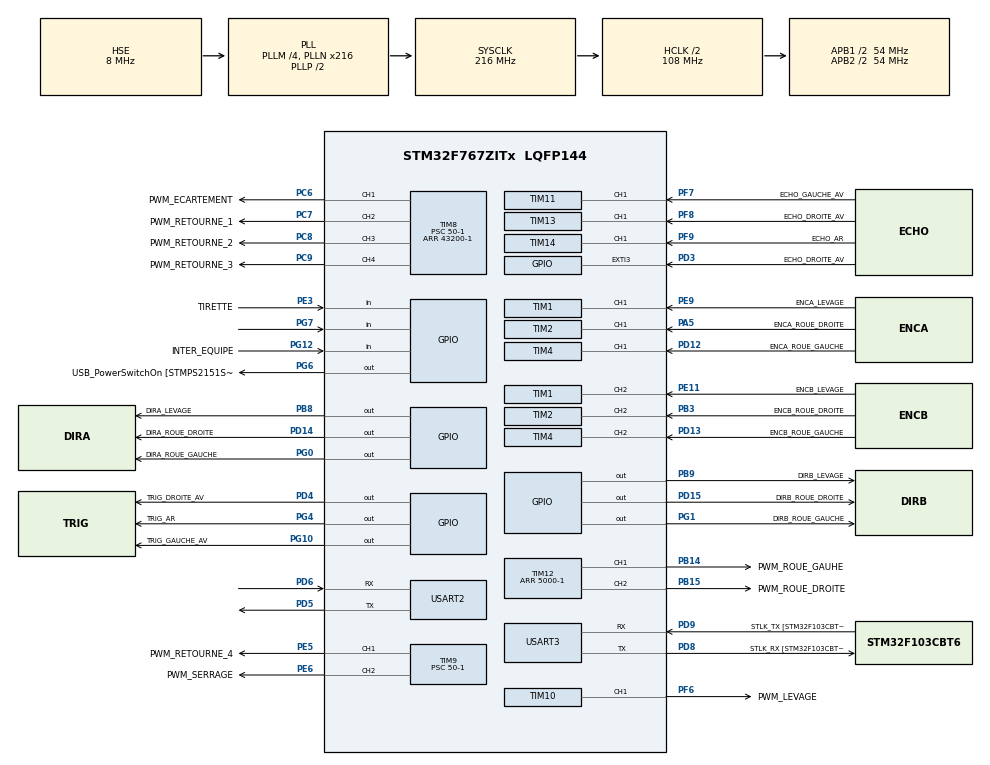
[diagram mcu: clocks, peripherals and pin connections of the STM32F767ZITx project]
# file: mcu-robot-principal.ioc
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CORTEX_M7.default_mode_Activation=1
Dma.Request0=USART2_RX
Dma.USART2_RX.0.Direction=DMA_PERIPH_TO_MEMORY
Dma.USART2_RX.0.FIFOMode=DMA_FIFOMODE_DISABLE
Dma.USART2_RX.0.Instance=DMA1_Stream5
Dma.USART2_RX.0.MemDataAlignment=DMA_MDATAALIGN_BYTE
Dma.USART2_RX.0.MemInc=DMA_MINC_ENABLE
Dma.USART2_RX.0.Mode=DMA_CIRCULAR
Dma.USART2_RX.0.PeriphDataAlignment=DMA_PDATAALIGN_BYTE
Dma.USART2_RX.0.PeriphInc=DMA_PINC_DISABLE
Dma.USART2_RX.0.Priority=DMA_PRIORITY_LOW
FREERTOS.Tasks01=defaultTask,24,256,StartDefaultTask,Default,NULL,Dynamic,NULL,NULL;odometry,48,1024,StartOdometryTask,As external,&odometry_task_params,Dynamic,NULL,NULL;cmdRobotVel,48,2048,StartCmdRobotVelTask,As external,&cmd_robot_vel_task_params,Dynamic,NULL,NULL;cmdRobotPose,32,1024,StartCmdRobotPoseTask,As external,&cmd_robot_pose_task_params,Dynamic,NULL,NULL;lift,8,512,StartLiftTask,As external,&lift_task_params,Dynamic,NULL,NULL;spread,8,512,StartSpreadTask,As external,&spread_task_params,Dynamic,NULL,NULL;flip,8,512,StartFlipTask,As external,&flip_task_params,Dynamic,NULL,NULL;grip,8,512,StartGripTask,As external,&grip_task_params,Dynamic,NULL,NULL;strategy,8,1024,StartStrategyTask,As external,&strategy_task_params,Dynamic,NULL,NULL;detection,48,1024,StartDetectionTask,As external,&detection_task_params,Dynamic,NULL,NULL
FREERTOS.configENABLE_FPU=1
FREERTOS.configTOTAL_HEAP_SIZE=200000
Mcu.Family=STM32F7
Mcu.Name=STM32F767ZITx
Mcu.Package=LQFP144
NVIC.DMA1_Stream5_IRQn=true\:5\:0\:false\:false\:true\:true\:false\:true\:true
NVIC.EXTI3_IRQn=true\:5\:0\:false\:false\:true\:true\:true\:true\:true
NVIC.PriorityGroup=NVIC_PRIORITYGROUP_4
NVIC.TIM1_TRG_COM_TIM11_IRQn=true\:5\:0\:false\:false\:true\:true\:true\:true\:true
NVIC.TIM6_DAC_IRQn=true\:15\:0\:false\:false\:true\:false\:false\:true\:true
NVIC.TIM8_CC_IRQn=true\:5\:0\:false\:false\:true\:true\:true\:true\:true
NVIC.TIM8_TRG_COM_TIM14_IRQn=true\:5\:0\:false\:false\:true\:true\:true\:true\:true
NVIC.TIM8_UP_TIM13_IRQn=true\:5\:0\:false\:false\:true\:true\:true\:true\:true
NVIC.TimeBase=TIM6_DAC_IRQn
NVIC.TimeBaseIP=TIM6
PA13.GPIO_Label=TMS
PA13.Mode=Serial_Wire
PA13.Signal=SYS_JTMS-SWDIO
PA14.GPIO_Label=TCK
PA14.Mode=Serial_Wire
PA14.Signal=SYS_JTCK-SWCLK
PA5.GPIO_Label=ENCA_ROUE_DROITE
PA5.Signal=S_TIM2_CH1_ETR
PB14.GPIO_Label=PWM_ROUE_GAUHE
PB14.Signal=S_TIM12_CH1
PB15.GPIO_Label=PWM_ROUE_DROITE
PB15.Signal=S_TIM12_CH2
PB3.GPIO_Label=ENCB_ROUE_DROITE
PB3.Signal=S_TIM2_CH2
PB8.GPIO_Label=DIRA_LEVAGE
PB8.Signal=GPIO_Output
PB9.GPIO_Label=DIRB_LEVAGE
PB9.Signal=GPIO_Output
PC14/OSC32_IN.Mode=LSE-External-Oscillator
PC14/OSC32_IN.Signal=RCC_OSC32_IN
PC15/OSC32_OUT.Mode=LSE-External-Oscillator
PC15/OSC32_OUT.Signal=RCC_OSC32_OUT
PC6.GPIO_Label=PWM_ECARTEMENT
PC6.Signal=S_TIM8_CH1
PC7.GPIO_Label=PWM_RETOURNE_1
PC7.Signal=S_TIM8_CH2
PC8.GPIO_Label=PWM_RETOURNE_2
PC8.Signal=S_TIM8_CH3
PC9.GPIO_Label=PWM_RETOURNE_3
PC9.Signal=S_TIM8_CH4
PD12.GPIO_Label=ENCA_ROUE_GAUCHE
PD12.GPIO_PuPd=GPIO_NOPULL
PD12.Signal=S_TIM4_CH1
PD13.GPIO_Label=ENCB_ROUE_GAUCHE
PD13.GPIO_PuPd=GPIO_NOPULL
PD13.Signal=S_TIM4_CH2
PD14.GPIO_Label=DIRA_ROUE_DROITE
PD14.Signal=GPIO_Output
PD15.GPIO_Label=DIRB_ROUE_DROITE
PD15.Signal=GPIO_Output
PD3.GPIO_Label=ECHO_DROITE_AV
PD3.Signal=GPXTI3
PD4.GPIO_Label=TRIG_DROITE_AV
PD4.Signal=GPIO_Output
PD5.Mode=Asynchronous
PD5.Signal=USART2_TX
PD6.Mode=Asynchronous
PD6.Signal=USART2_RX
PD8.GPIO_Label=STLK_RX [STM32F103CBT6_PA3]
PD8.Mode=Asynchronous
PD8.Signal=USART3_TX
PD9.GPIO_Label=STLK_TX [STM32F103CBT6_PA2]
PD9.Mode=Asynchronous
PD9.Signal=USART3_RX
PE11.GPIO_Label=ENCB_LEVAGE
PE11.Signal=S_TIM1_CH2
PE3.GPIO_Label=TIRETTE
PE3.GPIO_PuPd=GPIO_PULLDOWN
PE3.Signal=GPIO_Input
PE5.GPIO_Label=PWM_RETOURNE_4
PE5.Signal=S_TIM9_CH1
PE6.GPIO_Label=PWM_SERRAGE
PE6.Signal=S_TIM9_CH2
PE9.GPIO_Label=ENCA_LEVAGE
PE9.Signal=S_TIM1_CH1
PF6.GPIO_Label=PWM_LEVAGE
PF6.Signal=S_TIM10_CH1
PF7.GPIO_Label=ECHO_GAUCHE_AV
PF7.Signal=S_TIM11_CH1
PF8.GPIO_Label=ECHO_DROITE_AV
PF8.Signal=S_TIM13_CH1
PF9.GPIO_Label=ECHO_AR
PF9.Signal=S_TIM14_CH1
PG0.GPIO_Label=DIRA_ROUE_GAUCHE
PG0.Signal=GPIO_Output
PG1.GPIO_Label=DIRB_ROUE_GAUCHE
PG1.Signal=GPIO_Output
PG10.GPIO_Label=TRIG_GAUCHE_AV
PG10.Signal=GPIO_Output
PG12.GPIO_Label=INTER_EQUIPE
PG12.GPIO_PuPd=GPIO_PULLDOWN
PG12.Signal=GPIO_Input
PG4.GPIO_Label=TRIG_AR
PG4.Signal=GPIO_Output
PG6.GPIO_Label=USB_PowerSwitchOn [STMPS2151STR_EN]
PG6.Signal=GPIO_Output
PG7.Signal=GPIO_Input
PH0/OSC_IN.GPIO_Label=MCO [STM32F103CBT6_PA8]
PH0/OSC_IN.Mode=HSE-External-Clock-Source
PH0/OSC_IN.Signal=RCC_OSC_IN
PH1/OSC_OUT.Mode=HSE-External-Clock-Source
PH1/OSC_OUT.Signal=RCC_OSC_OUT
ProjectManager.HeapSize=0x200
ProjectManager.StackSize=0x400
ProjectManager.TargetToolchain=CMake
RCC.48MHZClocksFreq_Value=24000000
RCC.AHBCLKDivider=RCC_SYSCLK_DIV2
RCC.AHBFreq_Value=108000000
RCC.APB1CLKDivider=RCC_HCLK_DIV2
RCC.APB1Freq_Value=54000000
RCC.APB1TimFreq_Value=108000000
RCC.APB2CLKDivider=RCC_HCLK_DIV2
RCC.APB2Freq_Value=54000000
RCC.APB2TimFreq_Value=108000000
RCC.CortexFreq_Value=108000000
RCC.HCLKFreq_Value=108000000
RCC.HSE_VALUE=8000000
RCC.HSI_VALUE=16000000
RCC.PLLM=4
RCC.PLLMUL=RCC_PLL_MUL9
RCC.PLLN=216
RCC.PLLQ=4
RCC.PLLSourceVirtual=RCC_PLLSOURCE_HSE
RCC.PRESCALERUSB=RCC_USBCLKSOURCE_PLL_DIV1_5
RCC.SYSCLKFreq_VALUE=216000000
RCC.SYSCLKSource=RCC_SYSCLKSOURCE_PLLCLK
RCC.SYSCLKSourceVirtual=RCC_SYSCLKSOURCE_PLLCLK
RCC.USBFreq_Value=108000000
RCC.VCOOutputFreq_Value=432000000
SH.S_TIM10_CH1.0=TIM10_CH1,PWM Generation1 CH1
SH.S_TIM11_CH1.0=TIM11_CH1,Input_Capture1_from_TI1
SH.S_TIM12_CH1.0=TIM12_CH1,PWM Generation1 CH1
SH.S_TIM12_CH2.0=TIM12_CH2,PWM Generation2 CH2
SH.S_TIM13_CH1.0=TIM13_CH1,Input_Capture1_from_TI1
SH.S_TIM14_CH1.0=TIM14_CH1,Input_Capture1_from_TI1
SH.S_TIM1_CH1.0=TIM1_CH1,Encoder_Interface
SH.S_TIM1_CH2.0=TIM1_CH2,Encoder_Interface
SH.S_TIM2_CH1_ETR.0=TIM2_CH1,Encoder_Interface
SH.S_TIM2_CH2.0=TIM2_CH2,Encoder_Interface
SH.S_TIM4_CH1.0=TIM4_CH1,Encoder_Interface
SH.S_TIM4_CH2.0=TIM4_CH2,Encoder_Interface
SH.S_TIM8_CH1.0=TIM8_CH1,PWM Generation1 CH1
SH.S_TIM8_CH2.0=TIM8_CH2,PWM Generation2 CH2
SH.S_TIM8_CH3.0=TIM8_CH3,PWM Generation3 CH3
SH.S_TIM8_CH4.0=TIM8_CH4,PWM Generation4 CH4
SH.S_TIM9_CH1.0=TIM9_CH1,PWM Generation1 CH1
SH.S_TIM9_CH2.0=TIM9_CH2,PWM Generation2 CH2
TIM1.IC1Filter=8
TIM1.IC2Filter=8
TIM1.Period=2800-1
TIM10.Channel=TIM_CHANNEL_1
TIM10.Period=5000-1
TIM11.Channel=TIM_CHANNEL_1
TIM11.ICPolarity_CH1=TIM_INPUTCHANNELPOLARITY_BOTHEDGE
TIM11.Period=40000-1
TIM11.Prescaler=108-1
TIM12.Channel-PWM\ Generation1\ CH1=TIM_CHANNEL_1
TIM12.Channel-PWM\ Generation2\ CH2=TIM_CHANNEL_2
TIM12.Period=5000-1
TIM13.Channel=TIM_CHANNEL_1
TIM13.ICPolarity_CH1=TIM_INPUTCHANNELPOLARITY_BOTHEDGE
TIM13.Period=40000-1
TIM13.Prescaler=108-1
TIM14.Channel=TIM_CHANNEL_1
TIM14.ICPolarity_CH1=TIM_INPUTCHANNELPOLARITY_BOTHEDGE
TIM14.Period=40000-1
TIM14.Prescaler=108-1
TIM2.EncoderMode=TIM_ENCODERMODE_TI12
TIM2.IC1Filter=8
TIM2.IC2Filter=8
TIM2.Period=2800-1
TIM4.EncoderMode=TIM_ENCODERMODE_TI12
TIM4.IC1Filter=8
TIM4.IC2Filter=8
TIM4.Period=2800-1
TIM8.Channel-PWM\ Generation1\ CH1=TIM_CHANNEL_1
TIM8.Channel-PWM\ Generation2\ CH2=TIM_CHANNEL_2
TIM8.Channel-PWM\ Generation3\ CH3=TIM_CHANNEL_3
TIM8.Channel-PWM\ Generation4\ CH4=TIM_CHANNEL_4
TIM8.Channel-PWM\ Generation5\ No\ Output=TIM_CHANNEL_5
TIM8.Channel-PWM\ Generation6\ No\ Output=TIM_CHANNEL_6
TIM8.Period=43200-1
TIM8.Prescaler=50-1
TIM9.Channel-PWM\ Generation1\ CH1=TIM_CHANNEL_1
TIM9.Channel-PWM\ Generation2\ CH2=TIM_CHANNEL_2
TIM9.Period=43200-1
TIM9.Prescaler=50-1
USART2.VirtualMode-Asynchronous=VM_ASYNC
USART3.VirtualMode-Asynchronous=VM_ASYNC
VP_FREERTOS_VS_CMSIS_V2.Mode=CMSIS_V2
VP_SYS_VS_tim6.Mode=TIM6
VP_TIM10_VS_ClockSourceINT.Mode=Enable_Timer
VP_TIM11_VS_ClockSourceINT.Mode=Enable_Timer
VP_TIM12_VS_ClockSourceINT.Mode=Internal
VP_TIM13_VS_ClockSourceINT.Mode=Enable_Timer
VP_TIM14_VS_ClockSourceINT.Mode=Enable_Timer
VP_TIM8_VS_ClockSourceINT.Mode=Internal
VP_TIM8_VS_no_output5.Mode=PWM Generation5 No Output
VP_TIM8_VS_no_output6.Mode=PWM Generation6 No Output
VP_TIM9_VS_ClockSourceINT.Mode=Internal
board=NUCLEO-F767ZI

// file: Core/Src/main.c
/* USER CODE BEGIN Header */
/**
 ******************************************************************************
 * @file           : main.c
 * @brief          : Main program body
 ******************************************************************************
 * @attention
 *
 * Copyright (c) 2026 STMicroelectronics.
 * All rights reserved.
 *
 * This software is licensed under terms that can be found in the LICENSE file
 * in the root directory of this software component.
 * If no LICENSE file comes with this software, it is provided AS-IS.
 *
 ******************************************************************************
 */
/* USER CODE END Header */
#include "main.h"

#include "cmsis_os.h"

TIM_HandleTypeDef htim1;
TIM_HandleTypeDef htim2;
TIM_HandleTypeDef htim4;
TIM_HandleTypeDef htim8;
TIM_HandleTypeDef htim9;
TIM_HandleTypeDef htim10;
TIM_HandleTypeDef htim11;
TIM_HandleTypeDef htim12;
TIM_HandleTypeDef htim13;
TIM_HandleTypeDef htim14;

UART_HandleTypeDef huart2;
UART_HandleTypeDef huart3;
DMA_HandleTypeDef hdma_usart2_rx;

/* Definitions for defaultTask */
osThreadId_t defaultTaskHandle;
const osThreadAttr_t defaultTask_attributes = {
    .name = "defaultTask",
    .stack_size = 256 * 4,
    .priority = (osPriority_t)osPriorityNormal,
};
/* Definitions for odometry */
osThreadId_t odometryHandle;
const osThreadAttr_t odometry_attributes = {
    .name = "odometry",
    .stack_size = 1024 * 4,
    .priority = (osPriority_t)osPriorityRealtime,
};
/* Definitions for cmdRobotVel */
osThreadId_t cmdRobotVelHandle;
const osThreadAttr_t cmdRobotVel_attributes = {
    .name = "cmdRobotVel",
    .stack_size = 2048 * 4,
    .priority = (osPriority_t)osPriorityRealtime,
};
/* Definitions for cmdRobotPose */
osThreadId_t cmdRobotPoseHandle;
const osThreadAttr_t cmdRobotPose_attributes = {
    .name = "cmdRobotPose",
    .stack_size = 1024 * 4,
    .priority = (osPriority_t)osPriorityAboveNormal,
};
/* Definitions for lift */
osThreadId_t liftHandle;
const osThreadAttr_t lift_attributes = {
    .name = "lift",
    .stack_size = 512 * 4,
    .priority = (osPriority_t)osPriorityLow,
};
/* Definitions for spread */
osThreadId_t spreadHandle;
const osThreadAttr_t spread_attributes = {
    .name = "spread",
    .stack_size = 512 * 4,
    .priority = (osPriority_t)osPriorityLow,
};
/* Definitions for flip */
osThreadId_t flipHandle;
const osThreadAttr_t flip_attributes = {
    .name = "flip",
    .stack_size = 512 * 4,
    .priority = (osPriority_t)osPriorityLow,
};
/* Definitions for grip */
osThreadId_t gripHandle;
const osThreadAttr_t grip_attributes = {
    .name = "grip",
    .stack_size = 512 * 4,
    .priority = (osPriority_t)osPriorityLow,
};
/* Definitions for strategy */
osThreadId_t strategyHandle;
const osThreadAttr_t strategy_attributes = {
    .name = "strategy",
    .stack_size = 1024 * 4,
    .priority = (osPriority_t)osPriorityLow,
};
/* Definitions for detection */
osThreadId_t detectionHandle;
const osThreadAttr_t detection_attributes = {
    .name = "detection",
    .stack_size = 1024 * 4,
    .priority = (osPriority_t)osPriorityRealtime,
};
/* USER CODE BEGIN PV */

static CmdRobotVelTaskParams cmd_robot_vel_task_params;
static CmdRobotPoseTaskParams cmd_robot_pose_task_params;
static OdometryTaskParams odometry_task_params;
static LiftTaskParams lift_task_params;
static SpreadTaskParams spread_task_params;
static GripTaskParams grip_task_params;
static StrategyTaskParams strategy_task_params;
static FlipTaskParams flip_task_params;
static DetectionTaskParams detection_task_params;

/* USER CODE END PV */

void SystemClock_Config(void);
static void MPU_Config(void);
static void MX_GPIO_Init(void);
static void MX_DMA_Init(void);
static void MX_USART3_UART_Init(void);
static void MX_TIM1_Init(void);
static void MX_TIM4_Init(void);
static void MX_TIM8_Init(void);
static void MX_USART2_UART_Init(void);
static void MX_TIM11_Init(void);
static void MX_TIM13_Init(void);
static void MX_TIM9_Init(void);
static void MX_TIM14_Init(void);
static void MX_TIM2_Init(void);
static void MX_TIM10_Init(void);
static void MX_TIM12_Init(void);
void StartDefaultTask(void *argument);
extern void StartOdometryTask(void *argument);
extern void StartCmdRobotVelTask(void *argument);
extern void StartCmdRobotPoseTask(void *argument);
extern void StartLiftTask(void *argument);
extern void StartSpreadTask(void *argument);
extern void StartFlipTask(void *argument);
extern void StartGripTask(void *argument);
extern void StartStrategyTask(void *argument);
extern void StartDetectionTask(void *argument);

/* USER CODE BEGIN 0 */

int _write(int file, char *ptr, int len) {
    HAL_StatusTypeDef status =
        HAL_UART_Transmit(&huart3, (uint8_t *)ptr, len, HAL_MAX_DELAY);
    return (status == HAL_OK) ? len : -1;
}

void HAL_TIM_IC_CaptureCallback(TIM_HandleTypeDef *htim) {
    ultrason_isr(&detection_task_params.CapteurUltrason_AV_GA, htim);
    ultrason_isr(&detection_task_params.CapteurUltrason_AV_DR, htim);
}

/* USER CODE END 0 */

int main(void) {

    /* MPU
     * Configuration--------------------------------------------------------*/
    MPU_Config();

    /* MCU
     * Configuration--------------------------------------------------------*/

    /* Reset of all peripherals, Initializes the Flash interface and the
     * Systick. */
    HAL_Init();

    /* Configure the system clock */
    SystemClock_Config();

    /* Initialize all configured peripherals */
    MX_GPIO_Init();
    MX_DMA_Init();
    MX_USART3_UART_Init();
    MX_TIM1_Init();
    MX_TIM4_Init();
    MX_TIM8_Init();
    MX_USART2_UART_Init();
    MX_TIM11_Init();
    MX_TIM13_Init();
    MX_TIM9_Init();
    MX_TIM14_Init();
    MX_TIM2_Init();
    MX_TIM10_Init();
    MX_TIM12_Init();
    /* USER CODE BEGIN 2 */
    cmd_robot_pose_task_params.strategy_task = &strategyHandle;
    DcMotorConfig left_wheel_motor_cfg = {
        .htim_pwm = &htim12,
        .channel_number = TIM_CHANNEL_1,
        .dir_port_a = DIRA_ROUE_GAUCHE_GPIO_Port,
        .dir_pin_a = DIRA_ROUE_GAUCHE_Pin,
        .dir_port_b = DIRB_ROUE_GAUCHE_GPIO_Port,
        .dir_pin_b = DIRB_ROUE_GAUCHE_Pin,
        .power_scale = 1.0f};

    DcMotorConfig right_wheel_motor_cfg = {
        .htim_pwm = &htim12,
        .channel_number = TIM_CHANNEL_2,
        .dir_port_a = DIRA_ROUE_DROITE_GPIO_Port,
        .dir_pin_a = DIRA_ROUE_DROITE_Pin,
        .dir_port_b = DIRB_ROUE_DROITE_GPIO_Port,
        .dir_pin_b = DIRB_ROUE_DROITE_Pin,
        .power_scale = 1.0f};

    init_dc_motor(&cmd_robot_vel_task_params.left_motor, &left_wheel_motor_cfg);
    init_dc_motor(&cmd_robot_vel_task_params.right_motor,
                  &right_wheel_motor_cfg);

    EncoderConfig left_wheel_encoder_cfg = {
        .htim = &htim4,
    };

    EncoderConfig right_wheel_encoder_cfg = {
        .htim = &htim2,
    };

    init_encoder(&odometry_task_params.left_encoder, &left_wheel_encoder_cfg);
    init_encoder(&odometry_task_params.right_encoder, &right_wheel_encoder_cfg);
    odometry_task_params.huart = &huart3;
    odometry_task_params.cmd_robot_vel_task_id = &cmdRobotVelHandle;

    ServoMotorConfig Return_1_Cfg = {.htim_pwm = &htim8,
                                     .channel_number = TIM_CHANNEL_2,
                                     .pulse_min = 0.0005f,  // 0.5ms en secondes
                                     .pulse_max = 0.0025f,  // 2.5ms en secondes
                                     .angle_max = 180.0f,
                                     .interrupt_mode = 0};

    ServoMotorConfig Return_2_Cfg = {.htim_pwm = &htim8,
                                     .channel_number = TIM_CHANNEL_3,
                                     .pulse_min = 0.0005f,  // 0.5ms en secondes
                                     .pulse_max = 0.0025f,  // 2.5ms en secondes
                                     .angle_max = 180.0f,
                                     .interrupt_mode = 0};

    ServoMotorConfig Return_3_Cfg = {.htim_pwm = &htim8,
                                     .channel_number = TIM_CHANNEL_4,
                                     .pulse_min = 0.0005f,  // 0.5ms en secondes
                                     .pulse_max = 0.0025f,  // 2.5ms en secondes
                                     .angle_max = 180.0f,
                                     .interrupt_mode = 0};

    ServoMotorConfig Return_4_Cfg = {.htim_pwm = &htim9,
                                     .channel_number = TIM_CHANNEL_1,
                                     .pulse_min = 0.0005f,  // 0.5ms en secondes
                                     .pulse_max = 0.0025f,  // 2.5ms en secondes
                                     .angle_max = 180.0f,
                                     .interrupt_mode = 0};

    init_servo_motor(&flip_task_params.servo_return_1, &Return_1_Cfg);
    init_servo_motor(&flip_task_params.servo_return_2, &Return_2_Cfg);
    init_servo_motor(&flip_task_params.servo_return_3, &Return_3_Cfg);
    init_servo_motor(&flip_task_params.servo_return_4, &Return_4_Cfg);

    //--Lift Task:
    EncoderConfig levage_encoder_cfg = {
        .htim = &htim1,
    };

    DcMotorConfig levage_motor_cfg = {.htim_pwm = &htim10,
                                      .channel_number = TIM_CHANNEL_1,
                                      .dir_port_a = DIRA_LEVAGE_GPIO_Port,
                                      .dir_pin_a = DIRA_LEVAGE_Pin,
                                      .dir_port_b = DIRB_LEVAGE_GPIO_Port,
                                      .dir_pin_b = DIRB_LEVAGE_Pin,
                                      .power_scale = 1.0f};

    init_dc_motor(&lift_task_params.motor_levage, &levage_motor_cfg);
    init_encoder(&lift_task_params.encoder_levage, &levage_encoder_cfg);
    lift_task_params.strategy_task = &strategyHandle;

    //--Grip Task

    ServoMotorConfig gripCfg = {.htim_pwm = &htim9,
                                .channel_number = TIM_CHANNEL_2,
                                .pulse_min = 0.0005f,  // 0.5ms en secondes
                                .pulse_max = 0.0025f,  // 2.5ms en secondes
                                .angle_max = 180.0f,
                                .interrupt_mode = 0};

    init_servo_motor(&grip_task_params.GripServo, &gripCfg);
    grip_task_params.strategy_task = &strategyHandle;

    //--Spread Task

    ServoMotorConfig spreadCfg = {.htim_pwm = &htim8,
                                  .channel_number = TIM_CHANNEL_1,
                                  .pulse_min = 0.0008f,  // 0.5ms en secondes
                                  .pulse_max = 0.0020f,  // 2.5ms en secondes
                                  .angle_max = 180.0f,
                                  .interrupt_mode = 0};

    init_servo_motor(&spread_task_params.SpreadServo, &spreadCfg);
    spread_task_params.strategy_task = &strategyHandle;
    // Strategie
    strategy_task_params.cmd_robot_pose_task = &cmdRobotPoseHandle;
    strategy_task_params.flip_task = &flipHandle;
    strategy_task_params.grip_task = &gripHandle;
    strategy_task_params.lift_task = &liftHandle;
    strategy_task_params.spread_task = &spreadHandle;
    // Capteur US

    // initialisation des capteurs
    CapteurUSConfig CapteurAvGaCfg = {&htim11,
                                      TIM_CHANNEL_1,
                                      TRIG_GAUCHE_AV_GPIO_Port,
                                      TRIG_GAUCHE_AV_Pin,
                                      ECHO_GAUCHE_AV_GPIO_Port,
                                      ECHO_GAUCHE_AV_Pin};
    CapteurUSConfig CapteurAvDrCfg = {&htim13,
                                      TIM_CHANNEL_1,
                                      TRIG_DROITE_AV_GPIO_Port,
                                      TRIG_DROITE_AV_Pin,
                                      ECHO_DROITE_AV_GPIO_Port,
                                      ECHO_DROITE_AV_Pin};
    init_ultrasensor(&detection_task_params.CapteurUltrason_AV_GA,
                     &CapteurAvGaCfg);
    init_ultrasensor(&detection_task_params.CapteurUltrason_AV_DR,
                     &CapteurAvDrCfg);

    /* USER CODE END 2 */

    /* Init scheduler */
    osKernelInitialize();

    /* Create the thread(s) */
    /* creation of defaultTask */
    defaultTaskHandle =
        osThreadNew(StartDefaultTask, NULL, &defaultTask_attributes);

    /* creation of odometry */
    odometryHandle = osThreadNew(
        StartOdometryTask, (void *)&odometry_task_params, &odometry_attributes);

    /* creation of cmdRobotVel */
    cmdRobotVelHandle =
        osThreadNew(StartCmdRobotVelTask, (void *)&cmd_robot_vel_task_params,
                    &cmdRobotVel_attributes);

    /* creation of cmdRobotPose */
    cmdRobotPoseHandle =
        osThreadNew(StartCmdRobotPoseTask, (void *)&cmd_robot_pose_task_params,
                    &cmdRobotPose_attributes);

    /* creation of lift */
    liftHandle =
        osThreadNew(StartLiftTask, (void *)&lift_task_params, &lift_attributes);

    /* creation of spread */
    spreadHandle = osThreadNew(StartSpreadTask, (void *)&spread_task_params,
                               &spread_attributes);

    /* creation of flip */
    flipHandle =
        osThreadNew(StartFlipTask, (void *)&flip_task_params, &flip_attributes);

    /* creation of grip */
    gripHandle =
        osThreadNew(StartGripTask, (void *)&grip_task_params, &grip_attributes);

    /* creation of strategy */
    strategyHandle = osThreadNew(
        StartStrategyTask, (void *)&strategy_task_params, &strategy_attributes);

    /* creation of detection */
    detectionHandle =
        osThreadNew(StartDetectionTask, (void *)&detection_task_params,
                    &detection_attributes);

    /* Start scheduler */
    osKernelStart();

    /* We should never get here as control is now taken by the scheduler */

    /* Infinite loop */
    while (1) {

    }
}

void SystemClock_Config(void) {
    RCC_OscInitTypeDef RCC_OscInitStruct = {0};
    RCC_ClkInitTypeDef RCC_ClkInitStruct = {0};

    /** Configure LSE Drive Capability
     */
    HAL_PWR_EnableBkUpAccess();

    /** Configure the main internal regulator output voltage
     */
    __HAL_RCC_PWR_CLK_ENABLE();
    __HAL_PWR_VOLTAGESCALING_CONFIG(PWR_REGULATOR_VOLTAGE_SCALE3);

    /** Initializes the RCC Oscillators according to the specified parameters
     * in the RCC_OscInitTypeDef structure.
     */
    RCC_OscInitStruct.OscillatorType =
        RCC_OSCILLATORTYPE_HSI | RCC_OSCILLATORTYPE_HSE;
    RCC_OscInitStruct.HSEState = RCC_HSE_BYPASS;
    RCC_OscInitStruct.HSIState = RCC_HSI_ON;
    RCC_OscInitStruct.HSICalibrationValue = RCC_HSICALIBRATION_DEFAULT;
    RCC_OscInitStruct.PLL.PLLState = RCC_PLL_ON;
    RCC_OscInitStruct.PLL.PLLSource = RCC_PLLSOURCE_HSE;
    RCC_OscInitStruct.PLL.PLLM = 4;
    RCC_OscInitStruct.PLL.PLLN = 216;
    RCC_OscInitStruct.PLL.PLLP = RCC_PLLP_DIV2;
    RCC_OscInitStruct.PLL.PLLQ = 4;
    RCC_OscInitStruct.PLL.PLLR = 2;
    if (HAL_RCC_OscConfig(&RCC_OscInitStruct) != HAL_OK) {
        Error_Handler();
    }

    /** Activate the Over-Drive mode
     */
    if (HAL_PWREx_EnableOverDrive() != HAL_OK) {
        Error_Handler();
    }

    /** Initializes the CPU, AHB and APB buses clocks
     */
    RCC_ClkInitStruct.ClockType = RCC_CLOCKTYPE_HCLK | RCC_CLOCKTYPE_SYSCLK |
                                  RCC_CLOCKTYPE_PCLK1 | RCC_CLOCKTYPE_PCLK2;
    RCC_ClkInitStruct.SYSCLKSource = RCC_SYSCLKSOURCE_PLLCLK;
    RCC_ClkInitStruct.AHBCLKDivider = RCC_SYSCLK_DIV2;
    RCC_ClkInitStruct.APB1CLKDivider = RCC_HCLK_DIV2;
    RCC_ClkInitStruct.APB2CLKDivider = RCC_HCLK_DIV2;

    if (HAL_RCC_ClockConfig(&RCC_ClkInitStruct, FLASH_LATENCY_3) != HAL_OK) {
        Error_Handler();
    }
    HAL_RCC_MCOConfig(RCC_MCO1, RCC_MCO1SOURCE_HSI, RCC_MCODIV_1);
}

static void MX_TIM1_Init(void) {

    TIM_Encoder_InitTypeDef sConfig = {0};
    TIM_MasterConfigTypeDef sMasterConfig = {0};

    htim1.Instance = TIM1;
    htim1.Init.Prescaler = 0;
    htim1.Init.CounterMode = TIM_COUNTERMODE_UP;
    htim1.Init.Period = 2800 - 1;
    htim1.Init.ClockDivision = TIM_CLOCKDIVISION_DIV1;
    htim1.Init.RepetitionCounter = 0;
    htim1.Init.AutoReloadPreload = TIM_AUTORELOAD_PRELOAD_DISABLE;
    sConfig.EncoderMode = TIM_ENCODERMODE_TI1;
    sConfig.IC1Polarity = TIM_ICPOLARITY_RISING;
    sConfig.IC1Selection = TIM_ICSELECTION_DIRECTTI;
    sConfig.IC1Prescaler = TIM_ICPSC_DIV1;
    sConfig.IC1Filter = 8;
    sConfig.IC2Polarity = TIM_ICPOLARITY_RISING;
    sConfig.IC2Selection = TIM_ICSELECTION_DIRECTTI;
    sConfig.IC2Prescaler = TIM_ICPSC_DIV1;
    sConfig.IC2Filter = 8;
    if (HAL_TIM_Encoder_Init(&htim1, &sConfig) != HAL_OK) {
        Error_Handler();
    }
    sMasterConfig.MasterOutputTrigger = TIM_TRGO_RESET;
    sMasterConfig.MasterOutputTrigger2 = TIM_TRGO2_RESET;
    sMasterConfig.MasterSlaveMode = TIM_MASTERSLAVEMODE_DISABLE;
    if (HAL_TIMEx_MasterConfigSynchronization(&htim1, &sMasterConfig) !=
        HAL_OK) {
        Error_Handler();
    }
}

static void MX_TIM2_Init(void) {

    TIM_Encoder_InitTypeDef sConfig = {0};
    TIM_MasterConfigTypeDef sMasterConfig = {0};

    htim2.Instance = TIM2;
    htim2.Init.Prescaler = 0;
    htim2.Init.CounterMode = TIM_COUNTERMODE_UP;
    htim2.Init.Period = 2800 - 1;
    htim2.Init.ClockDivision = TIM_CLOCKDIVISION_DIV1;
    htim2.Init.AutoReloadPreload = TIM_AUTORELOAD_PRELOAD_DISABLE;
    sConfig.EncoderMode = TIM_ENCODERMODE_TI12;
    sConfig.IC1Polarity = TIM_ICPOLARITY_RISING;
    sConfig.IC1Selection = TIM_ICSELECTION_DIRECTTI;
    sConfig.IC1Prescaler = TIM_ICPSC_DIV1;
    sConfig.IC1Filter = 8;
    sConfig.IC2Polarity = TIM_ICPOLARITY_RISING;
    sConfig.IC2Selection = TIM_ICSELECTION_DIRECTTI;
    sConfig.IC2Prescaler = TIM_ICPSC_DIV1;
    sConfig.IC2Filter = 8;
    if (HAL_TIM_Encoder_Init(&htim2, &sConfig) != HAL_OK) {
        Error_Handler();
    }
    sMasterConfig.MasterOutputTrigger = TIM_TRGO_RESET;
    sMasterConfig.MasterSlaveMode = TIM_MASTERSLAVEMODE_DISABLE;
    if (HAL_TIMEx_MasterConfigSynchronization(&htim2, &sMasterConfig) !=
        HAL_OK) {
        Error_Handler();
    }
}

static void MX_TIM4_Init(void) {

    TIM_Encoder_InitTypeDef sConfig = {0};
    TIM_MasterConfigTypeDef sMasterConfig = {0};

    htim4.Instance = TIM4;
    htim4.Init.Prescaler = 0;
    htim4.Init.CounterMode = TIM_COUNTERMODE_UP;
    htim4.Init.Period = 2800 - 1;
    htim4.Init.ClockDivision = TIM_CLOCKDIVISION_DIV1;
    htim4.Init.AutoReloadPreload = TIM_AUTORELOAD_PRELOAD_DISABLE;
    sConfig.EncoderMode = TIM_ENCODERMODE_TI12;
    sConfig.IC1Polarity = TIM_ICPOLARITY_RISING;
    sConfig.IC1Selection = TIM_ICSELECTION_DIRECTTI;
    sConfig.IC1Prescaler = TIM_ICPSC_DIV1;
    sConfig.IC1Filter = 8;
    sConfig.IC2Polarity = TIM_ICPOLARITY_RISING;
    sConfig.IC2Selection = TIM_ICSELECTION_DIRECTTI;
    sConfig.IC2Prescaler = TIM_ICPSC_DIV1;
    sConfig.IC2Filter = 8;
    if (HAL_TIM_Encoder_Init(&htim4, &sConfig) != HAL_OK) {
        Error_Handler();
    }
    sMasterConfig.MasterOutputTrigger = TIM_TRGO_RESET;
    sMasterConfig.MasterSlaveMode = TIM_MASTERSLAVEMODE_DISABLE;
    if (HAL_TIMEx_MasterConfigSynchronization(&htim4, &sMasterConfig) !=
        HAL_OK) {
        Error_Handler();
    }
}

static void MX_TIM8_Init(void) {

    TIM_ClockConfigTypeDef sClockSourceConfig = {0};
    TIM_MasterConfigTypeDef sMasterConfig = {0};
    TIM_OC_InitTypeDef sConfigOC = {0};
    TIM_BreakDeadTimeConfigTypeDef sBreakDeadTimeConfig = {0};

    htim8.Instance = TIM8;
    htim8.Init.Prescaler = 50 - 1;
    htim8.Init.CounterMode = TIM_COUNTERMODE_UP;
    htim8.Init.Period = 43200 - 1;
    htim8.Init.ClockDivision = TIM_CLOCKDIVISION_DIV1;
    htim8.Init.RepetitionCounter = 0;
    htim8.Init.AutoReloadPreload = TIM_AUTORELOAD_PRELOAD_DISABLE;
    if (HAL_TIM_Base_Init(&htim8) != HAL_OK) {
        Error_Handler();
    }
    sClockSourceConfig.ClockSource = TIM_CLOCKSOURCE_INTERNAL;
    if (HAL_TIM_ConfigClockSource(&htim8, &sClockSourceConfig) != HAL_OK) {
        Error_Handler();
    }
    if (HAL_TIM_PWM_Init(&htim8) != HAL_OK) {
        Error_Handler();
    }
    sMasterConfig.MasterOutputTrigger = TIM_TRGO_RESET;
    sMasterConfig.MasterOutputTrigger2 = TIM_TRGO2_RESET;
    sMasterConfig.MasterSlaveMode = TIM_MASTERSLAVEMODE_DISABLE;
    if (HAL_TIMEx_MasterConfigSynchronization(&htim8, &sMasterConfig) !=
        HAL_OK) {
        Error_Handler();
    }
    sConfigOC.OCMode = TIM_OCMODE_PWM1;
    sConfigOC.Pulse = 0;
    sConfigOC.OCPolarity = TIM_OCPOLARITY_HIGH;
    sConfigOC.OCNPolarity = TIM_OCNPOLARITY_HIGH;
    sConfigOC.OCFastMode = TIM_OCFAST_DISABLE;
    sConfigOC.OCIdleState = TIM_OCIDLESTATE_RESET;
    sConfigOC.OCNIdleState = TIM_OCNIDLESTATE_RESET;
    if (HAL_TIM_PWM_ConfigChannel(&htim8, &sConfigOC, TIM_CHANNEL_1) !=
        HAL_OK) {
        Error_Handler();
    }
    if (HAL_TIM_PWM_ConfigChannel(&htim8, &sConfigOC, TIM_CHANNEL_2) !=
        HAL_OK) {
        Error_Handler();
    }
    if (HAL_TIM_PWM_ConfigChannel(&htim8, &sConfigOC, TIM_CHANNEL_3) !=
        HAL_OK) {
        Error_Handler();
    }
    if (HAL_TIM_PWM_ConfigChannel(&htim8, &sConfigOC, TIM_CHANNEL_4) !=
        HAL_OK) {
        Error_Handler();
    }
    if (HAL_TIM_PWM_ConfigChannel(&htim8, &sConfigOC, TIM_CHANNEL_5) !=
        HAL_OK) {
        Error_Handler();
    }
    if (HAL_TIM_PWM_ConfigChannel(&htim8, &sConfigOC, TIM_CHANNEL_6) !=
        HAL_OK) {
        Error_Handler();
    }
    sBreakDeadTimeConfig.OffStateRunMode = TIM_OSSR_DISABLE;
    sBreakDeadTimeConfig.OffStateIDLEMode = TIM_OSSI_DISABLE;
    sBreakDeadTimeConfig.LockLevel = TIM_LOCKLEVEL_OFF;
    sBreakDeadTimeConfig.DeadTime = 0;
    sBreakDeadTimeConfig.BreakState = TIM_BREAK_DISABLE;
    sBreakDeadTimeConfig.BreakPolarity = TIM_BREAKPOLARITY_HIGH;
    sBreakDeadTimeConfig.BreakFilter = 0;
    sBreakDeadTimeConfig.Break2State = TIM_BREAK2_DISABLE;
    sBreakDeadTimeConfig.Break2Polarity = TIM_BREAK2POLARITY_HIGH;
    sBreakDeadTimeConfig.Break2Filter = 0;
    sBreakDeadTimeConfig.AutomaticOutput = TIM_AUTOMATICOUTPUT_DISABLE;
    if (HAL_TIMEx_ConfigBreakDeadTime(&htim8, &sBreakDeadTimeConfig) !=
        HAL_OK) {
        Error_Handler();
    }
    HAL_TIM_MspPostInit(&htim8);
}

static void MX_TIM9_Init(void) {

    TIM_ClockConfigTypeDef sClockSourceConfig = {0};
    TIM_OC_InitTypeDef sConfigOC = {0};

    htim9.Instance = TIM9;
    htim9.Init.Prescaler = 50 - 1;
    htim9.Init.CounterMode = TIM_COUNTERMODE_UP;
    htim9.Init.Period = 43200 - 1;
    htim9.Init.ClockDivision = TIM_CLOCKDIVISION_DIV1;
    htim9.Init.AutoReloadPreload = TIM_AUTORELOAD_PRELOAD_DISABLE;
    if (HAL_TIM_Base_Init(&htim9) != HAL_OK) {
        Error_Handler();
    }
    sClockSourceConfig.ClockSource = TIM_CLOCKSOURCE_INTERNAL;
    if (HAL_TIM_ConfigClockSource(&htim9, &sClockSourceConfig) != HAL_OK) {
        Error_Handler();
    }
    if (HAL_TIM_PWM_Init(&htim9) != HAL_OK) {
        Error_Handler();
    }
    sConfigOC.OCMode = TIM_OCMODE_PWM1;
    sConfigOC.Pulse = 0;
    sConfigOC.OCPolarity = TIM_OCPOLARITY_HIGH;
    sConfigOC.OCFastMode = TIM_OCFAST_DISABLE;
    if (HAL_TIM_PWM_ConfigChannel(&htim9, &sConfigOC, TIM_CHANNEL_1) !=
        HAL_OK) {
        Error_Handler();
    }
    if (HAL_TIM_PWM_ConfigChannel(&htim9, &sConfigOC, TIM_CHANNEL_2) !=
        HAL_OK) {
        Error_Handler();
    }
    HAL_TIM_MspPostInit(&htim9);
}

static void MX_TIM10_Init(void) {

    TIM_OC_InitTypeDef sConfigOC = {0};

    htim10.Instance = TIM10;
    htim10.Init.Prescaler = 0;
    htim10.Init.CounterMode = TIM_COUNTERMODE_UP;
    htim10.Init.Period = 5000 - 1;
    htim10.Init.ClockDivision = TIM_CLOCKDIVISION_DIV1;
    htim10.Init.AutoReloadPreload = TIM_AUTORELOAD_PRELOAD_DISABLE;
    if (HAL_TIM_Base_Init(&htim10) != HAL_OK) {
        Error_Handler();
    }
    if (HAL_TIM_PWM_Init(&htim10) != HAL_OK) {
        Error_Handler();
    }
    sConfigOC.OCMode = TIM_OCMODE_PWM1;
    sConfigOC.Pulse = 0;
    sConfigOC.OCPolarity = TIM_OCPOLARITY_HIGH;
    sConfigOC.OCFastMode = TIM_OCFAST_DISABLE;
    if (HAL_TIM_PWM_ConfigChannel(&htim10, &sConfigOC, TIM_CHANNEL_1) !=
        HAL_OK) {
        Error_Handler();
    }
    HAL_TIM_MspPostInit(&htim10);
}

static void MX_TIM11_Init(void) {

    TIM_IC_InitTypeDef sConfigIC = {0};

    htim11.Instance = TIM11;
    htim11.Init.Prescaler = 108 - 1;
    htim11.Init.CounterMode = TIM_COUNTERMODE_UP;
    htim11.Init.Period = 40000 - 1;
    htim11.Init.ClockDivision = TIM_CLOCKDIVISION_DIV1;
    htim11.Init.AutoReloadPreload = TIM_AUTORELOAD_PRELOAD_DISABLE;
    if (HAL_TIM_Base_Init(&htim11) != HAL_OK) {
        Error_Handler();
    }
    if (HAL_TIM_IC_Init(&htim11) != HAL_OK) {
        Error_Handler();
    }
    sConfigIC.ICPolarity = TIM_INPUTCHANNELPOLARITY_BOTHEDGE;
    sConfigIC.ICSelection = TIM_ICSELECTION_DIRECTTI;
    sConfigIC.ICPrescaler = TIM_ICPSC_DIV1;
    sConfigIC.ICFilter = 0;
    if (HAL_TIM_IC_ConfigChannel(&htim11, &sConfigIC, TIM_CHANNEL_1) !=
        HAL_OK) {
        Error_Handler();
    }
}

static void MX_TIM12_Init(void) {

    TIM_ClockConfigTypeDef sClockSourceConfig = {0};
    TIM_OC_InitTypeDef sConfigOC = {0};

    htim12.Instance = TIM12;
    htim12.Init.Prescaler = 0;
    htim12.Init.CounterMode = TIM_COUNTERMODE_UP;
    htim12.Init.Period = 5000 - 1;
    htim12.Init.ClockDivision = TIM_CLOCKDIVISION_DIV1;
    htim12.Init.AutoReloadPreload = TIM_AUTORELOAD_PRELOAD_DISABLE;
    if (HAL_TIM_Base_Init(&htim12) != HAL_OK) {
        Error_Handler();
    }
    sClockSourceConfig.ClockSource = TIM_CLOCKSOURCE_INTERNAL;
    if (HAL_TIM_ConfigClockSource(&htim12, &sClockSourceConfig) != HAL_OK) {
        Error_Handler();
    }
    if (HAL_TIM_PWM_Init(&htim12) != HAL_OK) {
        Error_Handler();
    }
    sConfigOC.OCMode = TIM_OCMODE_PWM1;
    sConfigOC.Pulse = 0;
    sConfigOC.OCPolarity = TIM_OCPOLARITY_HIGH;
    sConfigOC.OCFastMode = TIM_OCFAST_DISABLE;
    if (HAL_TIM_PWM_ConfigChannel(&htim12, &sConfigOC, TIM_CHANNEL_1) !=
        HAL_OK) {
        Error_Handler();
    }
    if (HAL_TIM_PWM_ConfigChannel(&htim12, &sConfigOC, TIM_CHANNEL_2) !=
        HAL_OK) {
        Error_Handler();
    }
    HAL_TIM_MspPostInit(&htim12);
}

static void MX_TIM13_Init(void) {

    TIM_IC_InitTypeDef sConfigIC = {0};

    htim13.Instance = TIM13;
    htim13.Init.Prescaler = 108 - 1;
    htim13.Init.CounterMode = TIM_COUNTERMODE_UP;
    htim13.Init.Period = 40000 - 1;
    htim13.Init.ClockDivision = TIM_CLOCKDIVISION_DIV1;
    htim13.Init.AutoReloadPreload = TIM_AUTORELOAD_PRELOAD_DISABLE;
    if (HAL_TIM_Base_Init(&htim13) != HAL_OK) {
        Error_Handler();
    }
    if (HAL_TIM_IC_Init(&htim13) != HAL_OK) {
        Error_Handler();
    }
    sConfigIC.ICPolarity = TIM_INPUTCHANNELPOLARITY_BOTHEDGE;
    sConfigIC.ICSelection = TIM_ICSELECTION_DIRECTTI;
    sConfigIC.ICPrescaler = TIM_ICPSC_DIV1;
    sConfigIC.ICFilter = 0;
    if (HAL_TIM_IC_ConfigChannel(&htim13, &sConfigIC, TIM_CHANNEL_1) !=
        HAL_OK) {
        Error_Handler();
    }
}

static void MX_TIM14_Init(void) {

    TIM_IC_InitTypeDef sConfigIC = {0};

    htim14.Instance = TIM14;
    htim14.Init.Prescaler = 108 - 1;
    htim14.Init.CounterMode = TIM_COUNTERMODE_UP;
    htim14.Init.Period = 40000 - 1;
    htim14.Init.ClockDivision = TIM_CLOCKDIVISION_DIV1;
    htim14.Init.AutoReloadPreload = TIM_AUTORELOAD_PRELOAD_DISABLE;
    if (HAL_TIM_Base_Init(&htim14) != HAL_OK) {
        Error_Handler();
    }
    if (HAL_TIM_IC_Init(&htim14) != HAL_OK) {
        Error_Handler();
    }
    sConfigIC.ICPolarity = TIM_INPUTCHANNELPOLARITY_BOTHEDGE;
    sConfigIC.ICSelection = TIM_ICSELECTION_DIRECTTI;
    sConfigIC.ICPrescaler = TIM_ICPSC_DIV1;
    sConfigIC.ICFilter = 0;
    if (HAL_TIM_IC_ConfigChannel(&htim14, &sConfigIC, TIM_CHANNEL_1) !=
        HAL_OK) {
        Error_Handler();
    }
}

static void MX_USART2_UART_Init(void) {

    huart2.Instance = USART2;
    huart2.Init.BaudRate = 115200;
    huart2.Init.WordLength = UART_WORDLENGTH_8B;
    huart2.Init.StopBits = UART_STOPBITS_1;
    huart2.Init.Parity = UART_PARITY_NONE;
    huart2.Init.Mode = UART_MODE_TX_RX;
    huart2.Init.HwFlowCtl = UART_HWCONTROL_NONE;
    huart2.Init.OverSampling = UART_OVERSAMPLING_16;
    huart2.Init.OneBitSampling = UART_ONE_BIT_SAMPLE_DISABLE;
    huart2.AdvancedInit.AdvFeatureInit = UART_ADVFEATURE_NO_INIT;
    if (HAL_UART_Init(&huart2) != HAL_OK) {
        Error_Handler();
    }
}

static void MX_USART3_UART_Init(void) {

    huart3.Instance = USART3;
    huart3.Init.BaudRate = 115200;
    huart3.Init.WordLength = UART_WORDLENGTH_8B;
    huart3.Init.StopBits = UART_STOPBITS_1;
    huart3.Init.Parity = UART_PARITY_NONE;
    huart3.Init.Mode = UART_MODE_TX_RX;
    huart3.Init.HwFlowCtl = UART_HWCONTROL_NONE;
    huart3.Init.OverSampling = UART_OVERSAMPLING_16;
    huart3.Init.OneBitSampling = UART_ONE_BIT_SAMPLE_DISABLE;
    huart3.AdvancedInit.AdvFeatureInit = UART_ADVFEATURE_NO_INIT;
    if (HAL_UART_Init(&huart3) != HAL_OK) {
        Error_Handler();
    }
}

static void MX_DMA_Init(void) {
    /* DMA controller clock enable */
    __HAL_RCC_DMA1_CLK_ENABLE();

    /* DMA interrupt init */
    /* DMA1_Stream5_IRQn interrupt configuration */
    HAL_NVIC_SetPriority(DMA1_Stream5_IRQn, 5, 0);
    HAL_NVIC_EnableIRQ(DMA1_Stream5_IRQn);
}

static void MX_GPIO_Init(void) {
    GPIO_InitTypeDef GPIO_InitStruct = {0};

    /* GPIO Ports Clock Enable */
    __HAL_RCC_GPIOE_CLK_ENABLE();
    __HAL_RCC_GPIOC_CLK_ENABLE();
    __HAL_RCC_GPIOF_CLK_ENABLE();
    __HAL_RCC_GPIOH_CLK_ENABLE();
    __HAL_RCC_GPIOA_CLK_ENABLE();
    __HAL_RCC_GPIOG_CLK_ENABLE();
    __HAL_RCC_GPIOB_CLK_ENABLE();
    __HAL_RCC_GPIOD_CLK_ENABLE();

    /*Configure GPIO pin Output Level */
    HAL_GPIO_WritePin(GPIOG,
                      DIRA_ROUE_GAUCHE_Pin | DIRB_ROUE_GAUCHE_Pin |
                          TRIG_AR_Pin | USB_PowerSwitchOn_Pin |
                          TRIG_GAUCHE_AV_Pin,
                      GPIO_PIN_RESET);

    /*Configure GPIO pin Output Level */
    HAL_GPIO_WritePin(
        GPIOD, DIRA_ROUE_DROITE_Pin | DIRB_ROUE_DROITE_Pin | TRIG_DROITE_AV_Pin,
        GPIO_PIN_RESET);

    /*Configure GPIO pin Output Level */
    HAL_GPIO_WritePin(GPIOB, DIRA_LEVAGE_Pin | DIRB_LEVAGE_Pin, GPIO_PIN_RESET);

    /*Configure GPIO pin : TIRETTE_Pin */
    GPIO_InitStruct.Pin = TIRETTE_Pin;
    GPIO_InitStruct.Mode = GPIO_MODE_INPUT;
    GPIO_InitStruct.Pull = GPIO_PULLDOWN;
    HAL_GPIO_Init(TIRETTE_GPIO_Port, &GPIO_InitStruct);

    /*Configure GPIO pins : DIRA_ROUE_GAUCHE_Pin DIRB_ROUE_GAUCHE_Pin
       TRIG_AR_Pin USB_PowerSwitchOn_Pin TRIG_GAUCHE_AV_Pin */
    GPIO_InitStruct.Pin = DIRA_ROUE_GAUCHE_Pin | DIRB_ROUE_GAUCHE_Pin |
                          TRIG_AR_Pin | USB_PowerSwitchOn_Pin |
                          TRIG_GAUCHE_AV_Pin;
    GPIO_InitStruct.Mode = GPIO_MODE_OUTPUT_PP;
    GPIO_InitStruct.Pull = GPIO_NOPULL;
    GPIO_InitStruct.Speed = GPIO_SPEED_FREQ_LOW;
    HAL_GPIO_Init(GPIOG, &GPIO_InitStruct);

    /*Configure GPIO pins : DIRA_ROUE_DROITE_Pin DIRB_ROUE_DROITE_Pin
     * TRIG_DROITE_AV_Pin */
    GPIO_InitStruct.Pin =
        DIRA_ROUE_DROITE_Pin | DIRB_ROUE_DROITE_Pin | TRIG_DROITE_AV_Pin;
    GPIO_InitStruct.Mode = GPIO_MODE_OUTPUT_PP;
    GPIO_InitStruct.Pull = GPIO_NOPULL;
    GPIO_InitStruct.Speed = GPIO_SPEED_FREQ_LOW;
    HAL_GPIO_Init(GPIOD, &GPIO_InitStruct);

    /*Configure GPIO pin : PG7 */
    GPIO_InitStruct.Pin = GPIO_PIN_7;
    GPIO_InitStruct.Mode = GPIO_MODE_INPUT;
    GPIO_InitStruct.Pull = GPIO_NOPULL;
    HAL_GPIO_Init(GPIOG, &GPIO_InitStruct);

    /*Configure GPIO pin : ECHO_DROITE_AVD3_Pin */
    GPIO_InitStruct.Pin = ECHO_DROITE_AVD3_Pin;
    GPIO_InitStruct.Mode = GPIO_MODE_IT_RISING;
    GPIO_InitStruct.Pull = GPIO_NOPULL;
    HAL_GPIO_Init(ECHO_DROITE_AVD3_GPIO_Port, &GPIO_InitStruct);

    /*Configure GPIO pin : INTER_EQUIPE_Pin */
    GPIO_InitStruct.Pin = INTER_EQUIPE_Pin;
    GPIO_InitStruct.Mode = GPIO_MODE_INPUT;
    GPIO_InitStruct.Pull = GPIO_PULLDOWN;
    HAL_GPIO_Init(INTER_EQUIPE_GPIO_Port, &GPIO_InitStruct);

    /*Configure GPIO pins : DIRA_LEVAGE_Pin DIRB_LEVAGE_Pin */
    GPIO_InitStruct.Pin = DIRA_LEVAGE_Pin | DIRB_LEVAGE_Pin;
    GPIO_InitStruct.Mode = GPIO_MODE_OUTPUT_PP;
    GPIO_InitStruct.Pull = GPIO_NOPULL;
    GPIO_InitStruct.Speed = GPIO_SPEED_FREQ_LOW;
    HAL_GPIO_Init(GPIOB, &GPIO_InitStruct);

    /* EXTI interrupt init*/
    HAL_NVIC_SetPriority(EXTI3_IRQn, 5, 0);
    HAL_NVIC_EnableIRQ(EXTI3_IRQn);

}

void StartDefaultTask(void *argument) {
    for (;;) {
        osDelay(1);
    }
}

/* MPU Configuration */

void MPU_Config(void) {
    MPU_Region_InitTypeDef MPU_InitStruct = {0};

    /* Disables the MPU */
    HAL_MPU_Disable();

    /** Initializes and configures the Region and the memory to be protected
     */
    MPU_InitStruct.Enable = MPU_REGION_ENABLE;
    MPU_InitStruct.Number = MPU_REGION_NUMBER0;
    MPU_InitStruct.BaseAddress = 0x0;
    MPU_InitStruct.Size = MPU_REGION_SIZE_4GB;
    MPU_InitStruct.SubRegionDisable = 0x87;
    MPU_InitStruct.TypeExtField = MPU_TEX_LEVEL0;
    MPU_InitStruct.AccessPermission = MPU_REGION_NO_ACCESS;
    MPU_InitStruct.DisableExec = MPU_INSTRUCTION_ACCESS_DISABLE;
    MPU_InitStruct.IsShareable = MPU_ACCESS_SHAREABLE;
    MPU_InitStruct.IsCacheable = MPU_ACCESS_NOT_CACHEABLE;
    MPU_InitStruct.IsBufferable = MPU_ACCESS_NOT_BUFFERABLE;

    HAL_MPU_ConfigRegion(&MPU_InitStruct);
    /* Enables the MPU */
    HAL_MPU_Enable(MPU_PRIVILEGED_DEFAULT);
}

void HAL_TIM_PeriodElapsedCallback(TIM_HandleTypeDef *htim) {
    if (htim->Instance == TIM6) {
        HAL_IncTick();
    }
}

void Error_Handler(void) {
    /* USER CODE BEGIN Error_Handler_Debug */
    /* User can add his own implementation to report the HAL error return state
     */
    __disable_irq();
    while (1) {
    }
    /* USER CODE END Error_Handler_Debug */
}
#ifdef USE_FULL_ASSERT
/**
 * @brief  Reports the name of the source file and the source line number
 *         where the assert_param error has occurred.
 * @param  file: pointer to the source file name
 * @param  line: assert_param error line source number
 * @retval None
 */
void assert_failed(uint8_t *file, uint32_t line) {
    /* USER CODE BEGIN 6 */
    /* User can add his own implementation to report the file name and line
       number, ex: printf("Wrong parameters value: file %s on line %d\r\n",
       file, line) */
    /* USER CODE END 6 */
}
#endif /* USE_FULL_ASSERT */
